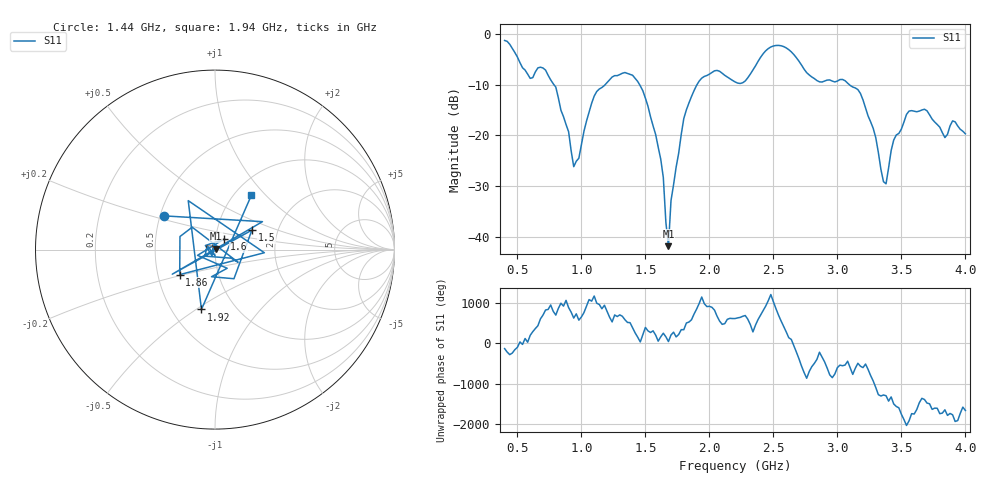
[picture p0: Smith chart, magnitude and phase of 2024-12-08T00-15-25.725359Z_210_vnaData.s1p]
!Created with skrf (http://scikit-rf.org).
# Hz S RI R 50.0
!freq ReS11 ImS11
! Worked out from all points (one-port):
!   181 points, 400 MHz to 4 GHz, reference 50 ohm
!   lowest |S11| = -41.8 dB at 1.68 GHz (marker M1), VSWR 1.02, Z = 50.6 + j0.528 ohm
!   |S11| at or under -10 dB: 784.7 MHz to 1.186 GHz (401.8 MHz wide, 40.8 % of centre); 1.454 GHz to 1.904 GHz (449.7 MHz wide, 26.8 % of centre); 3.092 GHz to end of sweep
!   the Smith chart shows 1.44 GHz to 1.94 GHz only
!   S11 on the Smith chart (normalised r, x): 1.44 GHz: 0.53, +0.22; 1.5 GHz: 1.47, +0.34; 1.6 GHz: 1.10, +0.13; 1.86 GHz: 0.65, -0.19; 1.92 GHz: 0.70, -0.53; 1.94 GHz: 1.19, +0.84
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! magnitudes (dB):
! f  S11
! 400 MHz  -1.3
! 600 MHz  -8.8
! 720 MHz  -7.2
! 860 MHz  -16.3
! 940 MHz  -26.1
! 1.1 GHz  -12.3
! 1.3 GHz  -8.0
! 1.44 GHz  -9.4
! 1.5 GHz  -12.7
! 1.6 GHz  -22.3
! 1.64 GHz  -28.3
! 1.68 GHz  -41.8
! 1.7 GHz  -32.8
! 1.76 GHz  -23.5
! 1.86 GHz  -12.4
! 1.92 GHz  -9.3
! 1.94 GHz  -8.7
! 2.2 GHz  -9.5
! 2.48 GHz  -2.6
! 2.66 GHz  -4.1
! 2.84 GHz  -9.2
! 3.1 GHz  -10.2
! 3.2 GHz  -13.0
! 3.38 GHz  -29.5
! 3.44 GHz  -20.9
! 3.56 GHz  -15.2
! 3.84 GHz  -20.4
! 4 GHz  -19.7
